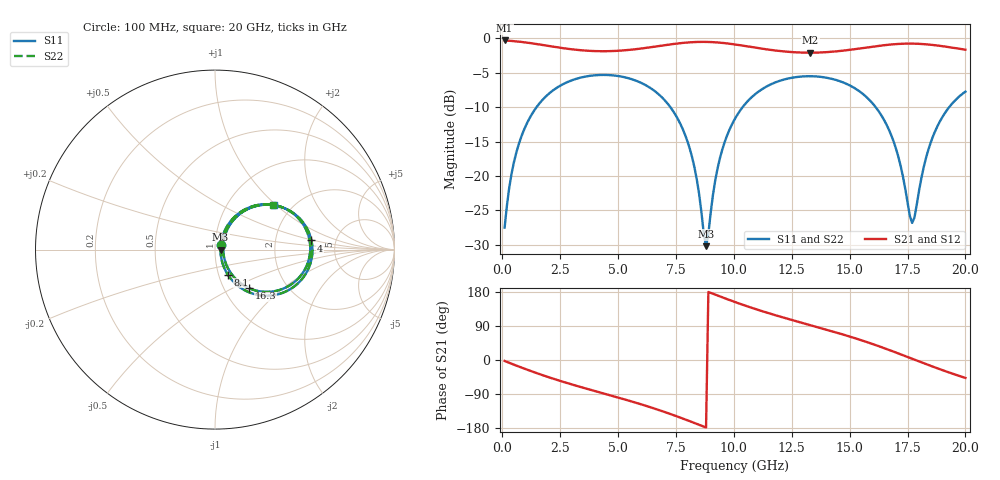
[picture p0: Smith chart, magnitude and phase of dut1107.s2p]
! Touchstone file exported from HFSS 2026.1.0
!  File:  C:/ffzhzh/LocalFiles/Ansys_Project_Files/temp_train_TSV_RDL_1107_1783304355_38820.aedt
!  Generated:  10:35:34 AM Jul  6, 2026
!  Design:  TSV_RDL
!  Project:  temp_train_TSV_RDL_1107_1783304355_38820
! Variables:
!  h_bsmrdl = 2.65um
!  h_ox = 20um
!  h_rdl = 5um
!  h_sub = 61.74um
!  h_tmrdl = 4.93um
!  h_tsv = 61.74um
!  h_via = 3um
!  l_bsmrdl = 962.47um
!  l_sub = 7060.46um
!  l_tmrdl = 914.5um
!  m_sub = 200um
!  pitch = 45.69um
!  r_tsv = 11.65um
!  s_tmrdl = 10um
!  w_bsmrdl = 19.66um
!  w_sub = 500um
!  w_tmrdl = 18.69um
!  x_tsv_center1 = 923.845um
!  x_tsv_center2 = 1905.975um
!  x_tsv_center3 = 2839.165um
!  x_tsv_center4 = 3821.295um
!  x_tsv_center5 = 4754.485um
!  x_tsv_center6 = 5736.615um
# GHz S MA R 50.000000
! Terminal data exported
! Port[1] = TM_RDL1_1_T1
! Port[2] = TM_RDL5_1_T1
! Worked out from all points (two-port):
!   200 points, 100 MHz to 20 GHz, reference 50 ohm
!   highest |S21| = -0.30 dB at 100 MHz (marker M1); lowest = -2.1 dB at 13.3 GHz (marker M2)
!   |S21| within 3 dB of the highest: start of sweep to end of sweep
!   lowest |S11| = -30.2 dB at 8.8 GHz (marker M3), VSWR 1.06, Z = 53.2 - j0.0365 ohm
!   |S11| at or under -10 dB: start of sweep to 1.479 GHz; 7.259 GHz to 10.38 GHz (3.12 GHz wide, 35.4 % of centre); 16.13 GHz to 19.3 GHz (3.173 GHz wide, 17.9 % of centre)
!   |S22| runs from -30.3 to -5.3 dB; largest |S21 - S12| = 1.6e-14
!   S11 on the Smith chart (normalised r, x): 100 MHz: 1.07, +0.05; 4 GHz: 3.27, +0.47; 8.1 GHz: 1.11, -0.32; 16.3 GHz: 1.31, -0.61; 20 GHz: 1.62, +0.96
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0.1  0.04214 34.7  0.9661 -2.5  0.9661 -2.5  0.04214 34.7
! Gamma 0 0 0 0
! Port Impedance 50 0 50 0
0.5  0.1254 60.3  0.9552 -12.3  0.9552 -12.3  0.1254 60.3
1.1  0.2483 54.8  0.9302 -26.1  0.9302 -26.1  0.2483 54.8
3.5  0.5242 13.6  0.8175 -73.3  0.8175 -73.3  0.5242 13.6
4  0.5395 5.4  0.8087 -81.9  0.8087 -81.9  0.5395 5.4
5.3  0.5212 -15.6  0.8197 -104.3  0.8197 -104.3  0.5212 -15.6
6.8  0.386 -41.8  0.8819 -132.8  0.8819 -132.8  0.386 -41.8
8.1  0.1572 -62.8  0.9365 -161.5  0.9365 -161.5  0.1572 -62.9
8.4  0.0945 -61.9  0.942 -168.6  0.942 -168.6  0.09442 -62.1
8.8  0.0309 -0.6  0.9431 -178.1  0.9431 -178.1  0.03058 -0.7
9.3  0.1142 62.6  0.9342 170.1  0.9342 170.1  0.1141 62.8
10.1  0.2698 54.2  0.9011 151.9  0.9011 151.9  0.2697 54.3
11.5  0.4551 29.8  0.8289 123.6  0.8289 123.6  0.4551 29.9
13.3  0.531 0.7  0.7874 92.1  0.7874 92.1  0.531 0.8
13.4  0.5306 -0.8  0.7876 90.4  0.7876 90.4  0.5306 -0.8
15  0.4559 -26.6  0.8255 62.0  0.8255 62.0  0.4559 -26.6
16.3  0.2879 -48.4  0.8845 35.6  0.8845 35.6  0.2878 -48.5
16.7  0.2164 -53.8  0.9001 26.7  0.9001 26.7  0.2163 -54.0
17.2  0.1191 -54.5  0.9131 15.1  0.9131 15.1  0.1187 -55.0
17.7  0.04561 -0.4  0.9163 3.3  0.9163 3.3  0.04433 -0.4
18.6  0.1939 58.0  0.8957 -17.7  0.8957 -17.7  0.1935 58.5
20  0.4103 37.1  0.8283 -47.3  0.8283 -47.3  0.4102 37.4
